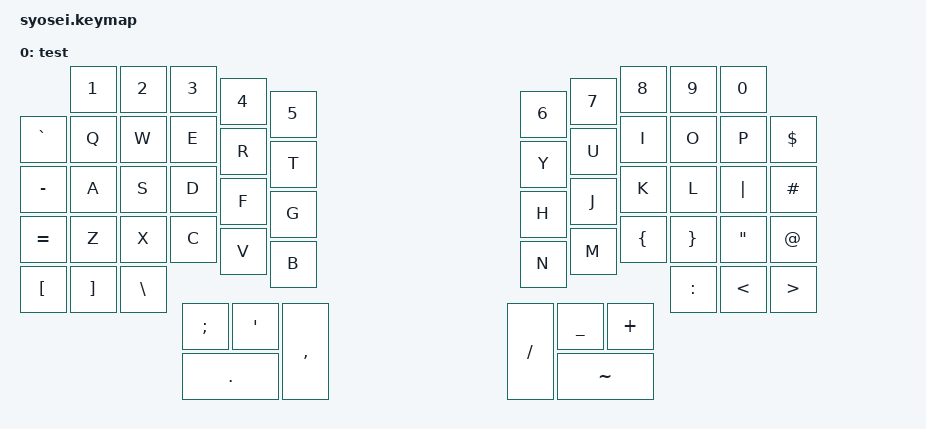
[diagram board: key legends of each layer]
#include <behaviors.dtsi>
#include <dt-bindings/zmk/keys.h>

/ {
    keymap {
        compatible = "zmk,keymap";

        test {
            bindings = <
                &kp DOT &kp N1 &kp N2 &kp N3 &kp N4 &kp N5 &kp GRAVE &kp Q &kp W &kp E
                &kp R &kp T &kp MINUS &kp A &kp S &kp D &kp F &kp G &kp EQUAL &kp Z
                &kp X &kp C &kp V &kp B &kp LBKT &kp RBKT &kp BSLH &kp SEMI &kp SQT &kp COMMA
                &kp TILDE &kp N0 &kp N9 &kp N8 &kp N7 &kp N6 &kp DLLR &kp P &kp O &kp I
                &kp U &kp Y &kp HASH &kp PIPE &kp L &kp K &kp J &kp H &kp AT &kp DQT
                &kp RBRC &kp LBRC &kp M &kp N &kp GT &kp LT &kp COLON &kp PLUS &kp UNDER &kp FSLH
            >;
        };
    };
};
